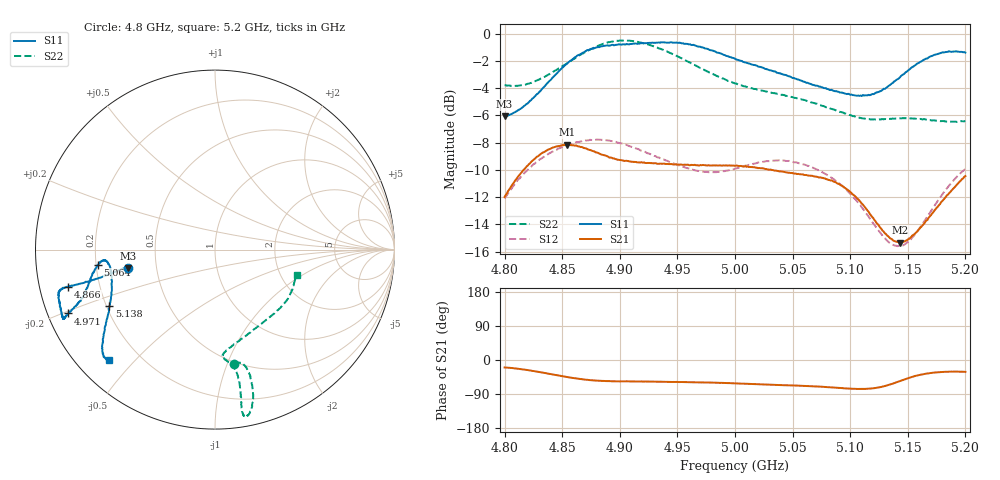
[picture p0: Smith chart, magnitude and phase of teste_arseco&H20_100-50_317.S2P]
! Network Analyzer HP8722D
! Hewlett-Packard
! Data name: Linha & Wilkinson
! Saver's name: Rodrigo Anjos
! Comments: Teste da utilização de aquisição
! continua pelo VNA HP8722D
! Time and date: 6/5/2025 15:12
!  Frequency  S11  S21  S12  S22
# HZ  S  MA R 50
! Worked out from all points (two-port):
!   401 points, 4.8 GHz to 5.2 GHz, reference 50 ohm
!   highest |S21| = -8.16 dB at 4.854 GHz (marker M1); lowest = -15.3 dB at 5.143 GHz (marker M2)
!   |S21| within 3 dB of the highest: 4.806 GHz to 5.093 GHz (286.4 MHz wide, 5.79 % of centre); 5.191917 GHz to end of sweep
!   lowest |S11| = -6.1 dB at 4.8 GHz (marker M3), VSWR 2.98, Z = 17 - j4.59 ohm
!   |S11| at or under -10 dB: nowhere
!   |S22| runs from -6.5 to -0.5 dB; largest |S21 - S12| = 0.62
!   S11 on the Smith chart (normalised r, x): 4.8 GHz: 0.34, -0.09; 4.866 GHz: 0.09, -0.12; 4.971 GHz: 0.06, -0.21; 5.064 GHz: 0.21, -0.06; 5.138 GHz: 0.21, -0.24; 5.2 GHz: 0.09, -0.42
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4.8e9  0.4971 -168.2  0.2514 -19.7  0.2485 -140.8  0.6472 -80.4
4.826e9  0.5877 -167.2  0.3468 -29.6  0.3328 -144.5  0.6679 -75.6
4.854e9  0.7764 -165.8  0.391 -44.8  0.389 -149.7  0.7779 -74.7
4.866e9  0.8419 -165.8  0.3835 -50.3  0.4021 -151.8  0.837 -75.2
4.867e9  0.8474 -165.8  0.3839 -50.8  0.4028 -151.9  0.8434 -75.4
4.882e9  0.8924 -165.3  0.3633 -54.8  0.4084 -154.4  0.9067 -77.0
4.899e9  0.9136 -162.8  0.3441 -56.4  0.3976 -156.6  0.942 -79.1
4.934e9  0.9294 -156.5  0.3329 -57.5  0.3512 -155.6  0.883 -80.4
4.971e9  0.8906 -156.5  0.3289 -59.2  0.3119 -146.4  0.7453 -79.5
5e9  0.8093 -159.0  0.3272 -61.8  0.3197 -137.1  0.6571 -81.2
5.035e9  0.7264 -165.2  0.3141 -65.9  0.3426 -134.4  0.6039 -85.7
5.064e9  0.657 -172.6  0.3012 -68.7  0.3271 -136.6  0.5644 -83.3
5.067e9  0.6501 -173.0  0.3008 -69.2  0.323 -136.7  0.5585 -82.6
5.087e9  0.6151 -174.5  0.2854 -73.0  0.2892 -138.5  0.5246 -74.9
5.102e9  0.5953 -171.7  0.2574 -76.0  0.2534 -138.6  0.498 -66.0
5.117e9  0.5945 -164.9  0.2182 -75.5  0.2096 -135.1  0.4854 -55.3
5.134e9  0.6458 -154.3  0.1784 -65.3  0.1708 -120.8  0.4864 -43.3
5.138e9  0.6673 -151.8  0.1734 -61.2  0.1672 -115.6  0.4872 -40.7
5.143e9  0.6913 -149.2  0.1711 -55.8  0.1661 -109.0  0.4888 -38.0
5.154e9  0.7556 -144.5  0.1817 -44.3  0.1789 -95.0  0.4883 -32.2
5.172e9  0.8322 -138.9  0.221 -33.5  0.2296 -81.1  0.481 -24.5
5.2e9  0.8526 -133.6  0.3001 -31.3  0.3193 -76.9  0.478 -17.5
